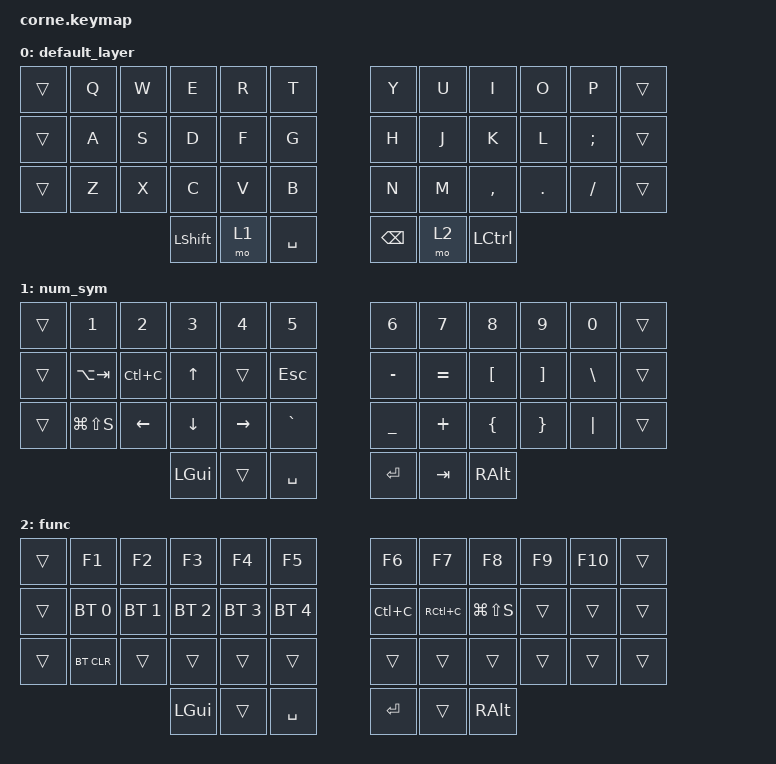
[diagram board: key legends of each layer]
/*
 * Copyright (c) 2020 The ZMK Contributors
 *
 * SPDX-License-Identifier: MIT
 */

#include <behaviors.dtsi>
#include <dt-bindings/zmk/bt.h>
#include <dt-bindings/zmk/keys.h>

/ {
    keymap {
        compatible = "zmk,keymap";

        default_layer {
            // -----------------------------------------------------------------------------------------
            // |  TAB |  Q  |  W  |  E  |  R  |  T  |   |  Y  |  U   |  I  |  O  |  P  | BSPC |
            // | CTRL |  A  |  S  |  D  |  F  |  G  |   |  H  |  J   |  K  |  L  |  ;  |  '   |
            // | SHFT |  Z  |  X  |  C  |  V  |  B  |   |  N  |  M   |  ,  |  .  |  /  | ESC  |
            //                    | GUI | LWR | SPC |   | ENT | RSE  | ALT |

            bindings = <
&trans  &kp Q  &kp W  &kp E       &kp R  &kp T        &kp Y          &kp U  &kp I             &kp O    &kp P     &trans
&trans  &kp A  &kp S  &kp D       &kp F  &kp G        &kp H          &kp J  &kp K             &kp L    &kp SEMI  &trans
&trans  &kp Z  &kp X  &kp C       &kp V  &kp B        &kp N          &kp M  &kp COMMA         &kp DOT  &kp FSLH  &trans
                      &kp LSHIFT  &mo 1  &kp SPACE    &kp BACKSPACE  &mo 2  &kp LEFT_CONTROL
            >;
        };

        num_sym {
            // -----------------------------------------------------------------------------------------
            // |  TAB |  !  |  @  |  #  |  $  |  %  |   |  ^  |  &  |  *  |  (  |  )  | BSPC |
            // | CTRL |     |     |     |     |     |   |  -  |  =  |  [  |  ]  |  \  |  `   |
            // | SHFT |     |     |     |     |     |   |  _  |  +  |  {  |  }  | "|" |  ~   |
            //                    | GUI |     | SPC |   | ENT |     | ALT |

            bindings = <
&trans  &kp N1         &kp N2     &kp N3        &kp N4     &kp N5        &kp N6     &kp N7     &kp N8    &kp N9    &kp N0    &trans
&trans  &kp LA(TAB)    &kp LC(C)  &kp UP_ARROW  &trans     &kp ESCAPE    &kp MINUS  &kp EQUAL  &kp LBKT  &kp RBKT  &kp BSLH  &trans
&trans  &kp LG(LS(S))  &kp LEFT   &kp DOWN      &kp RIGHT  &kp GRAVE     &kp UNDER  &kp PLUS   &kp LBRC  &kp RBRC  &kp PIPE  &trans
                                  &kp LGUI      &trans     &kp SPACE     &kp RET    &kp TAB    &kp RALT
            >;
        };

        func {
            // -----------------------------------------------------------------------------------------
            // |  TAB |  1  |  2  |  3  |  4  |  5  |   |  6  |  7  |  8  |  9  |  0  | BSPC |
            // | BTCLR| BT1 | BT2 | BT3 | BT4 | BT5 |   | LFT | DWN |  UP | RGT |     |      |
            // | SHFT |     |     |     |     |     |   |     |     |     |     |     |      |
            //                    | GUI |     | SPC |   | ENT |     | ALT |

            bindings = <
&trans  &kp F1        &kp F2        &kp F3        &kp F4        &kp F5          &kp F6     &kp F7     &kp F8         &kp F9  &kp F10  &trans
&trans  &bt BT_SEL 0  &bt BT_SEL 1  &bt BT_SEL 2  &bt BT_SEL 3  &bt BT_SEL 4    &kp LC(C)  &kp RC(C)  &kp LG(LS(S))  &trans  &trans   &trans
&trans  &bt BT_CLR    &trans        &trans        &trans        &trans          &trans     &trans     &trans         &trans  &trans   &trans
                                    &kp LGUI      &trans        &kp SPACE       &kp RET    &trans     &kp RALT
            >;
        };
    };
};
